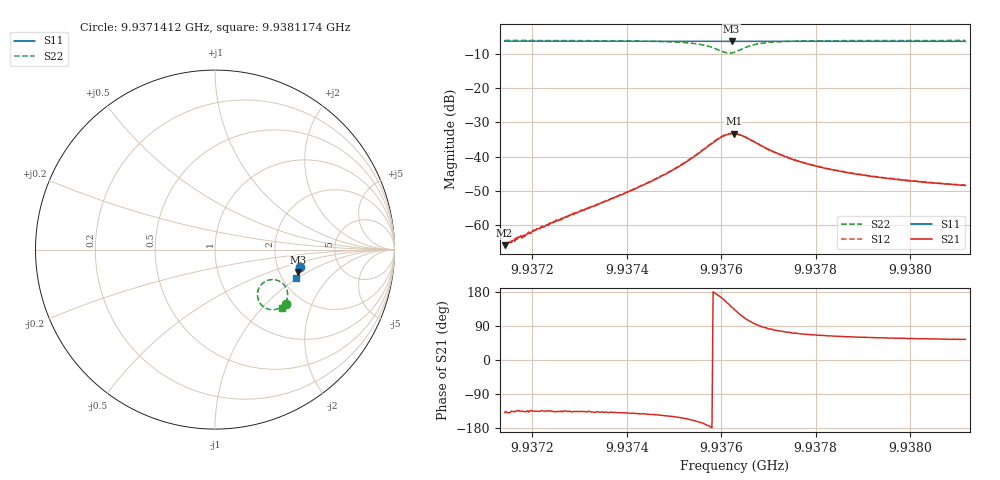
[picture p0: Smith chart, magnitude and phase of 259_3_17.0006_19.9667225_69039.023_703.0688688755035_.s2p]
#  HZ  S  RI  R  50.00
! Rohde & Schwarz Vector Network Analyzer
! Rohde-Schwarz,ZNB20-2Port,1311601062101988,3.16
! Created: UTC 3/20/2024, 11:03:43 PM
! freq[Hz]  re:S11  im:S11  re:S21  im:S21  re:S12  im:S12  re:S22  im:S22
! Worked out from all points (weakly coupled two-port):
!   401 points, 9.9371412 GHz to 9.9381174 GHz, reference 50 ohm
!   highest |S21| = -33.27 dB at 9.9376269 GHz (marker M1); lowest = -65.8 dB at 9.9371412 GHz (marker M2)
!   lowest |S11| = -6.4 dB at 9.937622 GHz (marker M3), VSWR 2.84, Z = 126 - j41.7 ohm
!   |S11| at or under -10 dB: nowhere
!   |S22| runs from -9.8 to -6.1 dB; largest |S21 - S12| = 0.00086
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9.93714125e9  0.4744 -0.0967  -0.000385 -0.000336  -0.000373 -0.000323  0.3933 -0.3004
9.93717053e9  0.4738 -0.0986  -0.000457 -0.000488  -0.000497 -0.000462  0.3912 -0.3028
9.93718273e9  0.4736 -0.0996  -0.000484 -0.000465  -0.000508 -0.000493  0.3902 -0.3037
9.93720469e9  0.4732 -0.101  -0.000591 -0.000588  -0.000584 -0.000606  0.3885 -0.3054
9.93722422e9  0.4728 -0.1022  -0.000662 -0.000666  -0.000693 -0.000675  0.3867 -0.307
9.93730475e9  0.4711 -0.1076  -0.00117 -0.00112  -0.00123 -0.00114  0.3786 -0.3139
9.93739748e9  0.4694 -0.1139  -0.00228 -0.00193  -0.00228 -0.00191  0.3646 -0.3232
9.93746825e9  0.4676 -0.1188  -0.00409 -0.00282  -0.00421 -0.00277  0.3455 -0.3316
9.93752194e9  0.4663 -0.1225  -0.00721 -0.00349  -0.00742 -0.00345  0.3171 -0.3352
9.93756586e9  0.4647 -0.1254  -0.0128 -0.00236  -0.0132 -0.00217  0.2719 -0.3195
9.93759759e9  0.4631 -0.1268  -0.0183 0.00403  -0.0186 0.00478  0.2371 -0.2606
9.93761223e9  0.4626 -0.1272  -0.0183 0.00999  -0.0184 0.0106  0.2446 -0.2148
9.93762199e9  0.4623 -0.1272  -0.0165 0.0139  -0.0164 0.0146  0.2652 -0.1878
9.93762687e9  0.4625 -0.1274  -0.0152 0.0155  -0.0149 0.0161  0.2789 -0.178
9.93762931e9  0.4625 -0.1274  -0.0143 0.016  -0.014 0.0166  0.2864 -0.1744
9.93765615e9  0.463 -0.1288  -0.00498 0.0178  -0.00454 0.0179  0.3611 -0.1774
9.93768544e9  0.4631 -0.1309  0.000509 0.0144  0.000766 0.0144  0.396 -0.2137
9.93774401e9  0.462 -0.1352  0.00263 0.00916  0.00307 0.00903  0.4047 -0.2611
9.93779281e9  0.4611 -0.1387  0.00295 0.00686  0.00312 0.00691  0.4002 -0.2808
9.93787578e9  0.459 -0.1442  0.00275 0.00496  0.00289 0.00499  0.3919 -0.2992
9.93795631e9  0.457 -0.1496  0.00254 0.00403  0.00265 0.00404  0.3848 -0.3101
9.93811738e9  0.4528 -0.16  0.0022 0.00308  0.00226 0.00308  0.373 -0.3246
